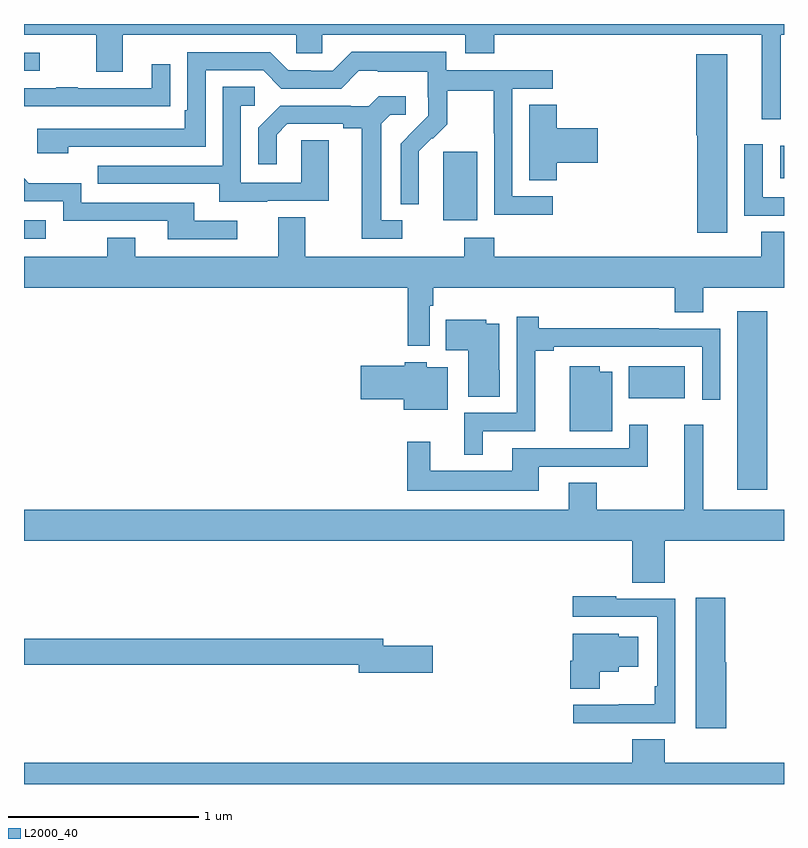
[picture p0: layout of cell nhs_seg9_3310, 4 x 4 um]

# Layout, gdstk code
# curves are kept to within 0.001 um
import gdstk
lib = gdstk.Library(unit=1e-6, precision=1e-09)
def R(c, l, rs):  # rectangles x0, y0, x1, y1
    for r in rs: c.add(gdstk.rectangle(r[:2], r[2:], *l))
def P(c, l, *ps):  # polygons
    for p in ps: c.add(gdstk.Polygon(p, *l))
L2000_40 = (2000, 40)

nhs_seg9_3310 = lib.new_cell('nhs_seg9_3310')
R(nhs_seg9_3310, L2000_40, [(304.754,1170.048,304.913,1170.988), (304.184,1170.53,304.477,1170.7), (301,1171.371,301.114,1171.467), (303.206,1171.466,303.385,1171.827), (304.979,1171.688,305,1171.858), (301,1172.253,301.084,1172.349)])
P(nhs_seg9_3310, L2000_40, [(304.982,1172.444),(305,1172.444),(305,1172.5),(301,1172.5),(301,1172.444),(301.379,1172.444),(301.379,1172.25),(301.519,1172.25),(301.519,1172.444),(302.433,1172.444),(302.433,1172.346),(302.571,1172.346),(302.571,1172.444),(303.323,1172.444),(303.323,1172.345),(303.476,1172.345),(303.476,1172.444),(304.883,1172.444),(304.883,1171.998),(304.982,1171.998)],
  [(303.784,1171.593),(303.57,1171.593),(303.57,1172.16),(303.784,1172.16),(303.784,1172.256),(303.222,1172.256),(303.222,1172.353),(302.725,1172.353),(302.625,1172.253),(302.51,1172.253),(302.51,1172.256),(302.391,1172.256),(302.295,1172.352),(301.86,1172.352),(301.86,1172.047),(301.847,1172.047),(301.847,1171.95),(301.071,1171.95),(301.071,1171.82),(301.232,1171.82),(301.232,1171.854),(301.956,1171.854),(301.956,1172.256),(302.259,1172.256),(302.355,1172.16),(302.67,1172.16),(302.763,1172.253),(302.863,1172.253),(302.863,1172.249),(303.126,1172.249),(303.126,1172.115),(303.128,1172.115),(303.128,1172.018),(302.982,1171.87),(302.982,1171.552),(303.078,1171.552),(303.077,1171.829),(303.147,1171.899),(303.15,1171.896),(303.227,1171.973),(303.227,1172.148),(303.472,1172.148),(303.472,1171.924),(303.474,1171.924),(303.474,1171.495),(303.784,1171.495)],
  [(304.702,1172.341),(304.538,1172.341),(304.538,1171.914),(304.544,1171.914),(304.544,1171.401),(304.702,1171.401)],
  [(301.667,1172.068),(301.769,1172.068),(301.769,1172.287),(301.673,1172.287),(301.673,1172.163),(301.283,1172.163),(301.283,1172.168),(301.171,1172.168),(301.171,1172.163),(301,1172.163),(301,1172.067),(301.667,1172.067)],
  [(302.281,1171.569),(302.605,1171.569),(302.605,1171.889),(302.46,1171.889),(302.46,1171.665),(302.142,1171.665),(302.142,1172.07),(302.215,1172.07),(302.215,1172.171),(302.046,1172.171),(302.046,1171.755),(301.387,1171.755),(301.387,1171.659),(302.027,1171.659),(302.027,1171.565),(302.281,1171.565)],
  [(302.992,1171.467),(302.881,1171.467),(302.881,1171.975),(302.928,1172.022),(303.01,1172.022),(303.01,1172.119),(302.866,1172.119),(302.814,1172.067),(302.72,1172.067),(302.72,1172.07),(302.348,1172.07),(302.232,1171.954),(302.232,1171.761),(302.329,1171.761),(302.329,1171.917),(302.386,1171.974),(302.681,1171.974),(302.681,1171.952),(302.777,1171.952),(302.777,1171.371),(302.992,1171.371)],
  [(303.803,1171.769),(304.021,1171.769),(304.021,1171.952),(303.803,1171.952),(303.803,1172.075),(303.659,1172.075),(303.659,1171.678),(303.803,1171.678)],
  [(305,1171.587),(304.887,1171.587),(304.887,1171.867),(304.791,1171.867),(304.791,1171.491),(305,1171.491)],
  [(302.122,1171.464),(301.897,1171.464),(301.897,1171.56),(301.302,1171.56),(301.302,1171.663),(301.025,1171.663),(301,1171.688),(301,1171.566),(301.206,1171.566),(301.206,1171.464),(301.757,1171.464),(301.757,1171.368),(302.122,1171.368)],
  [(303.135,1171.016),(303.155,1171.016),(303.155,1171.112),(304.424,1171.112),(304.424,1170.982),(304.576,1170.982),(304.576,1171.112),(305,1171.112),(305,1171.406),(304.88,1171.406),(304.88,1171.276),(303.476,1171.276),(303.476,1171.375),(303.316,1171.375),(303.316,1171.276),(302.479,1171.276),(302.479,1171.484),(302.339,1171.484),(302.339,1171.276),(301.585,1171.276),(301.585,1171.375),(301.438,1171.375),(301.438,1171.276),(301,1171.276),(301,1171.112),(303.019,1171.112),(303.019,1170.806),(303.135,1170.806)],
  [(303.415,1170.357),(303.692,1170.357),(303.692,1170.781),(303.787,1170.781),(303.787,1170.801),(304.569,1170.801),(304.569,1170.522),(304.665,1170.522),(304.665,1170.897),(304.34,1170.897),(304.34,1170.899),(303.71,1170.899),(303.71,1170.958),(303.594,1170.958),(303.594,1170.453),(303.317,1170.453),(303.317,1170.233),(303.415,1170.233)],
  [(303.505,1170.678),(303.502,1170.678),(303.502,1170.922),(303.432,1170.922),(303.432,1170.943),(303.22,1170.943),(303.22,1170.782),(303.338,1170.782),(303.338,1170.538),(303.505,1170.538)],
  [(303.229,1170.694),(303.12,1170.694),(303.12,1170.721),(303.003,1170.721),(303.003,1170.702),(302.772,1170.702),(302.772,1170.524),(302.999,1170.524),(302.999,1170.47),(303.229,1170.47)],
  [(304.096,1170.67),(304.03,1170.67),(304.03,1170.7),(303.872,1170.7),(303.872,1170.356),(304.096,1170.356)],
  [(303.709,1170.171),(304.283,1170.171),(304.283,1170.391),(304.185,1170.391),(304.185,1170.267),(303.569,1170.267),(303.569,1170.148),(303.139,1170.148),(303.139,1170.301),(303.018,1170.301),(303.018,1170.044),(303.709,1170.044)],
  [(304.475,1170.391),(304.475,1169.944),(304.014,1169.944),(304.014,1170.086),(303.866,1170.086),(303.866,1169.944),(301,1169.944),(301,1169.78),(304.202,1169.78),(304.202,1169.56),(304.373,1169.56),(304.373,1169.78),(305,1169.78),(305,1169.944),(304.574,1169.944),(304.574,1170.391)],
  [(304.118,1168.821),(304.428,1168.821),(304.428,1169.475),(304.118,1169.475),(304.118,1169.488),(303.888,1169.488),(303.888,1169.379),(304.332,1169.379),(304.332,1169.014),(304.32,1169.014),(304.32,1168.919),(304.131,1168.919),(304.131,1168.917),(303.891,1168.917),(303.891,1168.82),(304.118,1168.82)],
  [(304.696,1169.142),(304.691,1169.142),(304.691,1169.479),(304.535,1169.479),(304.535,1168.794),(304.696,1168.794)],
  [(304.029,1169.09),(304.131,1169.09),(304.131,1169.117),(304.234,1169.117),(304.234,1169.275),(304.131,1169.275),(304.131,1169.29),(303.887,1169.29),(303.887,1169.148),(303.875,1169.148),(303.875,1169.002),(304.029,1169.002)],
  [(303.151,1169.228),(302.89,1169.228),(302.89,1169.264),(301,1169.264),(301,1169.128),(302.762,1169.128),(302.762,1169.086),(303.151,1169.086)],
  [(305,1168.612),(304.373,1168.612),(304.373,1168.736),(304.202,1168.736),(304.202,1168.612),(301,1168.612),(301,1168.5),(305,1168.5)])

lib.write_gds('nhs_seg9_3310.gds')
